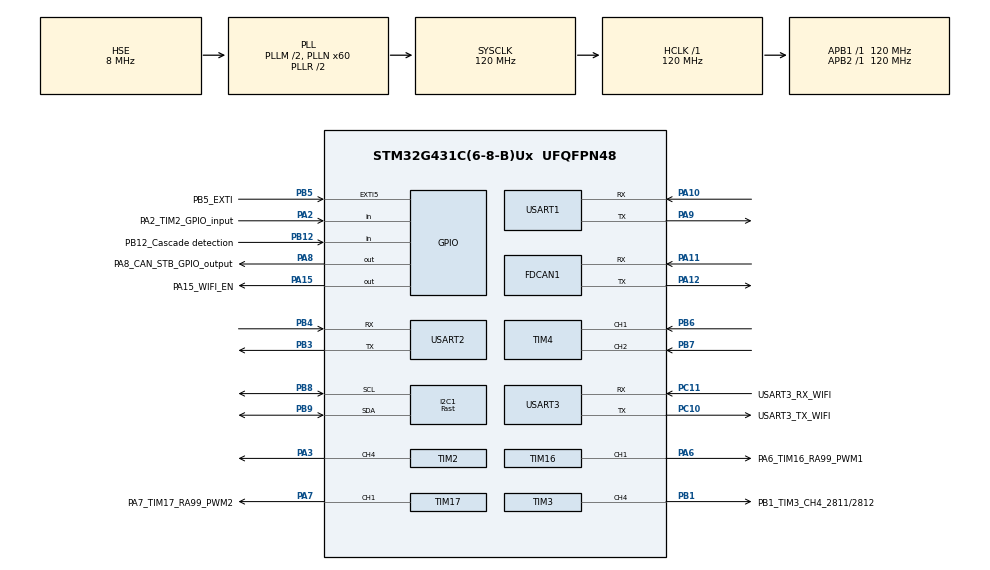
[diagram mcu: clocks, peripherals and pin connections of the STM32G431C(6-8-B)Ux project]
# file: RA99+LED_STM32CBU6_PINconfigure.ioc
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Dma.Request0=TIM3_CH4
Dma.Request1=TIM15_COM
Dma.Request2=TIM4_UP
Dma.Request3=TIM2_CH4
Dma.TIM15_COM.1.Direction=DMA_MEMORY_TO_PERIPH
Dma.TIM15_COM.1.EventEnable=DISABLE
Dma.TIM15_COM.1.Instance=DMA1_Channel2
Dma.TIM15_COM.1.MemDataAlignment=DMA_MDATAALIGN_HALFWORD
Dma.TIM15_COM.1.MemInc=DMA_MINC_ENABLE
Dma.TIM15_COM.1.Mode=DMA_NORMAL
Dma.TIM15_COM.1.PeriphDataAlignment=DMA_PDATAALIGN_HALFWORD
Dma.TIM15_COM.1.PeriphInc=DMA_PINC_DISABLE
Dma.TIM15_COM.1.Polarity=HAL_DMAMUX_REQ_GEN_RISING
Dma.TIM15_COM.1.Priority=DMA_PRIORITY_VERY_HIGH
Dma.TIM15_COM.1.RequestNumber=1
Dma.TIM15_COM.1.SignalID=NONE
Dma.TIM15_COM.1.SyncEnable=DISABLE
Dma.TIM15_COM.1.SyncPolarity=HAL_DMAMUX_SYNC_NO_EVENT
Dma.TIM15_COM.1.SyncRequestNumber=1
Dma.TIM15_COM.1.SyncSignalID=NONE
Dma.TIM2_CH4.3.Direction=DMA_MEMORY_TO_PERIPH
Dma.TIM2_CH4.3.EventEnable=DISABLE
Dma.TIM2_CH4.3.Instance=DMA1_Channel4
Dma.TIM2_CH4.3.MemDataAlignment=DMA_MDATAALIGN_HALFWORD
Dma.TIM2_CH4.3.MemInc=DMA_MINC_ENABLE
Dma.TIM2_CH4.3.Mode=DMA_NORMAL
Dma.TIM2_CH4.3.PeriphDataAlignment=DMA_PDATAALIGN_WORD
Dma.TIM2_CH4.3.PeriphInc=DMA_PINC_DISABLE
Dma.TIM2_CH4.3.Polarity=HAL_DMAMUX_REQ_GEN_RISING
Dma.TIM2_CH4.3.Priority=DMA_PRIORITY_VERY_HIGH
Dma.TIM2_CH4.3.RequestNumber=1
Dma.TIM2_CH4.3.SignalID=NONE
Dma.TIM2_CH4.3.SyncEnable=DISABLE
Dma.TIM2_CH4.3.SyncPolarity=HAL_DMAMUX_SYNC_NO_EVENT
Dma.TIM2_CH4.3.SyncRequestNumber=1
Dma.TIM2_CH4.3.SyncSignalID=NONE
Dma.TIM3_CH4.0.Direction=DMA_MEMORY_TO_PERIPH
Dma.TIM3_CH4.0.EventEnable=DISABLE
Dma.TIM3_CH4.0.Instance=DMA1_Channel1
Dma.TIM3_CH4.0.MemDataAlignment=DMA_MDATAALIGN_HALFWORD
Dma.TIM3_CH4.0.MemInc=DMA_MINC_ENABLE
Dma.TIM3_CH4.0.Mode=DMA_NORMAL
Dma.TIM3_CH4.0.PeriphDataAlignment=DMA_PDATAALIGN_HALFWORD
Dma.TIM3_CH4.0.PeriphInc=DMA_PINC_DISABLE
Dma.TIM3_CH4.0.Polarity=HAL_DMAMUX_REQ_GEN_RISING
Dma.TIM3_CH4.0.Priority=DMA_PRIORITY_LOW
Dma.TIM3_CH4.0.RequestNumber=1
Dma.TIM3_CH4.0.SignalID=NONE
Dma.TIM3_CH4.0.SyncEnable=DISABLE
Dma.TIM3_CH4.0.SyncPolarity=HAL_DMAMUX_SYNC_NO_EVENT
Dma.TIM3_CH4.0.SyncRequestNumber=1
Dma.TIM3_CH4.0.SyncSignalID=NONE
Dma.TIM4_UP.2.Direction=DMA_MEMORY_TO_PERIPH
Dma.TIM4_UP.2.EventEnable=DISABLE
Dma.TIM4_UP.2.Instance=DMA1_Channel3
Dma.TIM4_UP.2.MemDataAlignment=DMA_MDATAALIGN_HALFWORD
Dma.TIM4_UP.2.MemInc=DMA_MINC_ENABLE
Dma.TIM4_UP.2.Mode=DMA_NORMAL
Dma.TIM4_UP.2.PeriphDataAlignment=DMA_PDATAALIGN_HALFWORD
Dma.TIM4_UP.2.PeriphInc=DMA_PINC_DISABLE
Dma.TIM4_UP.2.Polarity=HAL_DMAMUX_REQ_GEN_RISING
Dma.TIM4_UP.2.Priority=DMA_PRIORITY_VERY_HIGH
Dma.TIM4_UP.2.RequestNumber=1
Dma.TIM4_UP.2.SignalID=NONE
Dma.TIM4_UP.2.SyncEnable=DISABLE
Dma.TIM4_UP.2.SyncPolarity=HAL_DMAMUX_SYNC_NO_EVENT
Dma.TIM4_UP.2.SyncRequestNumber=1
Dma.TIM4_UP.2.SyncSignalID=NONE
FDCAN1.CalculateBaudRateNominal=2500000
FDCAN1.CalculateTimeBitNominal=400
FDCAN1.CalculateTimeQuantumNominal=133.33333333333334
I2C1.I2C_Speed_Mode=I2C_Fast
I2C1.Timing=0x10B21F61
Mcu.Family=STM32G4
Mcu.Name=STM32G431C(6-8-B)Ux
Mcu.Package=UFQFPN48
NVIC.DMA1_Channel1_IRQn=true\:1\:0\:true\:false\:true\:false\:true\:true
NVIC.DMA1_Channel2_IRQn=true\:1\:0\:true\:false\:true\:false\:true\:true
NVIC.DMA1_Channel3_IRQn=true\:1\:0\:true\:false\:true\:false\:true\:true
NVIC.DMA1_Channel4_IRQn=true\:1\:0\:true\:false\:true\:false\:true\:true
NVIC.EXTI9_5_IRQn=true\:0\:0\:false\:false\:true\:true\:true\:true
NVIC.PriorityGroup=NVIC_PRIORITYGROUP_4
NVIC.TIM1_BRK_TIM15_IRQn=true\:0\:0\:false\:false\:true\:true\:true\:true
NVIC.TIM2_IRQn=true\:0\:0\:false\:false\:true\:true\:true\:true
NVIC.TIM3_IRQn=true\:0\:0\:false\:false\:true\:true\:true\:true
NVIC.TIM7_IRQn=true\:2\:0\:true\:false\:true\:true\:true\:true
PA10.Mode=Asynchronous
PA10.Signal=USART1_RX
PA11.Mode=FDCAN_Activate
PA11.Signal=FDCAN1_RX
PA12.Mode=FDCAN_Activate
PA12.Signal=FDCAN1_TX
PA13.Mode=Serial_Wire
PA13.Signal=SYS_JTMS-SWDIO
PA14.Mode=Serial_Wire
PA14.Signal=SYS_JTCK-SWCLK
PA15.GPIO_Label=PA15_WIFI_EN
PA15.Signal=GPIO_Output
PA2.GPIO_Label=PA2_TIM2_GPIO_input
PA2.GPIO_PuPd=GPIO_PULLUP
PA2.Signal=GPIO_Input
PA3.GPIO_PuPd=GPIO_PULLDOWN
PA3.Signal=S_TIM2_CH4
PA6.GPIO_Label=PA6_TIM16_RA99_PWM1
PA6.GPIO_PuPd=GPIO_PULLDOWN
PA6.Signal=S_TIM16_CH1
PA7.GPIO_Label=PA7_TIM17_RA99_PWM2
PA7.GPIO_PuPd=GPIO_PULLDOWN
PA7.Signal=S_TIM17_CH1
PA8.GPIO_Label=PA8_CAN_STB_GPIO_output
PA8.GPIO_PuPd=GPIO_PULLDOWN
PA8.Signal=GPIO_Output
PA9.Mode=Asynchronous
PA9.Signal=USART1_TX
PB1.GPIO_Label=PB1_TIM3_CH4_2811/2812
PB1.GPIO_PuPd=GPIO_PULLDOWN
PB1.Signal=S_TIM3_CH4
PB12.GPIO_Label=PB12_Cascade detection
PB12.GPIO_PuPd=GPIO_PULLUP
PB12.Signal=GPIO_Input
PB3.Mode=Asynchronous
PB3.Signal=USART2_TX
PB4.Mode=Asynchronous
PB4.Signal=USART2_RX
PB5.GPIO_Label=PB5_EXTI
PB5.GPIO_PuPd=GPIO_PULLUP
PB5.Signal=GPXTI5
PB6.Signal=S_TIM4_CH1
PB7.Signal=S_TIM4_CH2
PB8-BOOT0.Mode=I2C
PB8-BOOT0.Signal=I2C1_SCL
PB9.Mode=I2C
PB9.Signal=I2C1_SDA
PC10.GPIO_Label=USART3_TX_WIFI
PC10.Mode=Asynchronous
PC10.Signal=USART3_TX
PC11.GPIO_Label=USART3_RX_WIFI
PC11.Mode=Asynchronous
PC11.Signal=USART3_RX
PF0-OSC_IN.Mode=HSE-External-Oscillator
PF0-OSC_IN.Signal=RCC_OSC_IN
PF1-OSC_OUT.Mode=HSE-External-Oscillator
PF1-OSC_OUT.Signal=RCC_OSC_OUT
ProjectManager.HeapSize=0x200
ProjectManager.StackSize=0x400
ProjectManager.TargetToolchain=STM32CubeIDE
RCC.ADC12Freq_Value=120000000
RCC.AHBFreq_Value=120000000
RCC.APB1Freq_Value=120000000
RCC.APB1TimFreq_Value=120000000
RCC.APB2Freq_Value=120000000
RCC.APB2TimFreq_Value=120000000
RCC.CortexFreq_Value=120000000
RCC.EXTERNAL_CLOCK_VALUE=12288000
RCC.HCLKFreq_Value=120000000
RCC.HSE_VALUE=8000000
RCC.HSI48_VALUE=48000000
RCC.HSI_VALUE=16000000
RCC.LSE_VALUE=32768
RCC.PLLM=RCC_PLLM_DIV2
RCC.PLLN=60
RCC.PLLSourceVirtual=RCC_PLLSOURCE_HSE
RCC.SYSCLKFreq_VALUE=120000000
RCC.SYSCLKSource=RCC_SYSCLKSOURCE_PLLCLK
RCC.USBFreq_Value=120000000
RCC.VCOOutputFreq_Value=240000000
SH.S_TIM16_CH1.0=TIM16_CH1,PWM Generation1 CH1
SH.S_TIM17_CH1.0=TIM17_CH1,PWM Generation1 CH1
SH.S_TIM2_CH4.0=TIM2_CH4,PWM Generation4 CH4
SH.S_TIM3_CH4.0=TIM3_CH4,PWM Generation4 CH4
SH.S_TIM4_CH1.0=TIM4_CH1,Encoder_Interface
SH.S_TIM4_CH2.0=TIM4_CH2,Encoder_Interface
TIM15.AutoReloadPreload=TIM_AUTORELOAD_PRELOAD_ENABLE
TIM16.Channel=TIM_CHANNEL_1
TIM17.Channel=TIM_CHANNEL_1
TIM2.Channel-PWM\ Generation4\ CH4=TIM_CHANNEL_4
TIM3.Channel-PWM\ Generation4\ CH4=TIM_CHANNEL_4
TIM7.AutoReloadPreload=TIM_AUTORELOAD_PRELOAD_ENABLE
TIM7.PeriodNoDither=25
TIM7.Prescaler=10000
USART1.VirtualMode-Asynchronous=VM_ASYNC
USART2.VirtualMode-Asynchronous=VM_ASYNC
USART3.VirtualMode-Asynchronous=VM_ASYNC
VP_SYS_VS_DBSignals.Mode=DisableDeadBatterySignals
VP_TIM15_VS_ClockSourceINT.Mode=Internal
VP_TIM16_VS_ClockSourceINT.Mode=Enable_Timer
VP_TIM17_VS_ClockSourceINT.Mode=Enable_Timer
VP_TIM2_VS_ClockSourceINT.Mode=Internal
VP_TIM7_VS_ClockSourceINT.Mode=Enable_Timer
board=custom

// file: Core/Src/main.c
/* USER CODE BEGIN Header */
/**
  ******************************************************************************
  * @file           : main.c
  * @brief          : Main program body
  ******************************************************************************
  * @attention
  *
  * Copyright (c) 2025 STMicroelectronics.
  * All rights reserved.
  *
  * This software is licensed under terms that can be found in the LICENSE file
  * in the root directory of this software component.
  * If no LICENSE file comes with this software, it is provided AS-IS.
  *
  ******************************************************************************
  */
/* USER CODE END Header */
#include "main.h"
#include "dma.h"
#include "fdcan.h"
#include "i2c.h"
#include "tim.h"
#include "usart.h"
#include "gpio.h"

/* USER CODE BEGIN Includes */
#include "argb_tx.h"
#include "Unipolar_zeroing_code_communication.h"
/* USER CODE END Includes */

/* USER CODE BEGIN PV */
int8_single_chain *now_data;
/* USER CODE END PV */

void SystemClock_Config(void);

/* USER CODE BEGIN 0 */

uint8_t SB=0;
int8_single_chain *ARR_data_head,*ARR_data_tail;
uint8_t ARR_data[]={25,50,100,200};
uint8_t ARR_data_len=get_length(ARR_data);

/* USER CODE END 0 */

int main(void)
{

  /* MCU Configuration--------------------------------------------------------*/

  /* Reset of all peripherals, Initializes the Flash interface and the Systick. */
  HAL_Init();

  /* Configure the system clock */
  SystemClock_Config();

  /* Initialize all configured peripherals */
  MX_GPIO_Init();
  MX_DMA_Init();
  MX_FDCAN1_Init();
  MX_I2C1_Init();
  MX_TIM2_Init();
  MX_TIM3_Init();
  MX_TIM4_Init();
  MX_TIM16_Init();
  MX_TIM17_Init();
  MX_USART1_UART_Init();
  MX_USART2_UART_Init();
  MX_USART3_UART_Init();
  MX_TIM15_Init();
  MX_TIM7_Init();
  /* USER CODE BEGIN 2 */
  uint32_t led_long=0,led_wide=0;
  /*argb_test();
  ARGB_Set_CurGain(g_hARGB,1,16);
  ARGB_Set_CurGain(g_hARGB,2,16);
  ARGB_Set_CurGain(g_hARGB,3,16);*/
  uint8_t color[] = {20,20,20};
  argb_handle *argb1=malloc(sizeof(argb_handle));
  argb_init(argb1,SM16823E,36,&htim3,TIM_CHANNEL_4,120*1000);
  uint8_t current_gain[]={0b11111111,0b11110000};
  argb_set_ex_data(argb1,current_gain);

  create_int8_single_chain_loop(ARR_data,ARR_data_len,&ARR_data_head,&ARR_data_tail);
    now_data=ARR_data_head;
  htim7.Instance->ARR=now_data->data;
  HAL_TIM_Base_Start_IT(&htim7);

  /* USER CODE END 2 */

  /* Infinite loop */
  /* USER CODE BEGIN WHILE */

  while (1)
  {
    /*for (led_long=0;led_long<6;led_long++) {
        for (led_wide=0;led_wide<6;led_wide++) {
          ARGB_Reset_Color(g_hARGB);
          ARGB_Set_Color(g_hARGB,led_long*6+led_wide,color);
          while (1) {
            time_now=HAL_GetTick();
            if (time_now-time_prev>=5) {
              break;
            }
          }
          ARGB_Update(g_hARGB);
          time_prev=time_now;
        }

    }
    led_long=0;
    led_wide=0;*/
    if (SB!=0) {
      argb_clear_data(argb1);
      argb_set_single_data(argb1,led_long*6+led_wide+1,color);
      argb_UZCC_uint8_send(argb1);
      /*ARGB_Reset_Color(g_hARGB);
      ARGB_Set_Color(g_hARGB,led_long*6+led_wide,color);
      ARGB_Update(g_hARGB);*/
      led_wide++;
      if (led_wide==6) {
        led_long++;
        led_long=led_long%6;
        led_wide=0;
      }
      SB=0;
    }
    /* USER CODE END WHILE */

  }
}

void SystemClock_Config(void)
{
  RCC_OscInitTypeDef RCC_OscInitStruct = {0};
  RCC_ClkInitTypeDef RCC_ClkInitStruct = {0};

  /** Configure the main internal regulator output voltage
  */
  HAL_PWREx_ControlVoltageScaling(PWR_REGULATOR_VOLTAGE_SCALE1);

  /** Initializes the RCC Oscillators according to the specified parameters
  * in the RCC_OscInitTypeDef structure.
  */
  RCC_OscInitStruct.OscillatorType = RCC_OSCILLATORTYPE_HSE;
  RCC_OscInitStruct.HSEState = RCC_HSE_ON;
  RCC_OscInitStruct.PLL.PLLState = RCC_PLL_ON;
  RCC_OscInitStruct.PLL.PLLSource = RCC_PLLSOURCE_HSE;
  RCC_OscInitStruct.PLL.PLLM = RCC_PLLM_DIV2;
  RCC_OscInitStruct.PLL.PLLN = 60;
  RCC_OscInitStruct.PLL.PLLP = RCC_PLLP_DIV2;
  RCC_OscInitStruct.PLL.PLLQ = RCC_PLLQ_DIV2;
  RCC_OscInitStruct.PLL.PLLR = RCC_PLLR_DIV2;
  if (HAL_RCC_OscConfig(&RCC_OscInitStruct) != HAL_OK)
  {
    Error_Handler();
  }

  /** Initializes the CPU, AHB and APB buses clocks
  */
  RCC_ClkInitStruct.ClockType = RCC_CLOCKTYPE_HCLK|RCC_CLOCKTYPE_SYSCLK
                              |RCC_CLOCKTYPE_PCLK1|RCC_CLOCKTYPE_PCLK2;
  RCC_ClkInitStruct.SYSCLKSource = RCC_SYSCLKSOURCE_PLLCLK;
  RCC_ClkInitStruct.AHBCLKDivider = RCC_SYSCLK_DIV1;
  RCC_ClkInitStruct.APB1CLKDivider = RCC_HCLK_DIV1;
  RCC_ClkInitStruct.APB2CLKDivider = RCC_HCLK_DIV1;

  if (HAL_RCC_ClockConfig(&RCC_ClkInitStruct, FLASH_LATENCY_3) != HAL_OK)
  {
    Error_Handler();
  }
}

void Error_Handler(void)
{
  __disable_irq();
  while (1)
  {
  }
}
